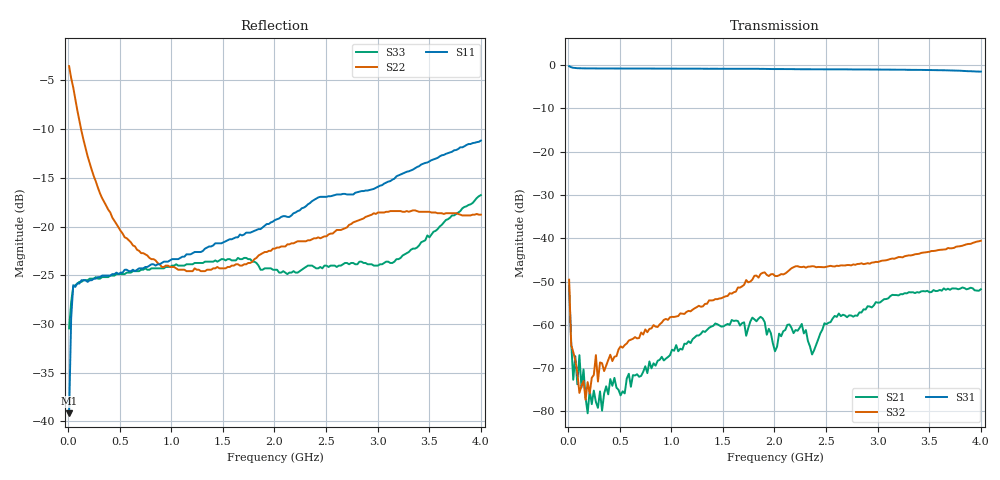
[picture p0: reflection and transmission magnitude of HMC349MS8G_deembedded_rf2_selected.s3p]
!Hittite Microwave Corporation
!12 Elizabeth Drive
!Chelmsford, MA 01824
!Tel: 978-250-3343
!Fax: 978-250-3373
!Device: HMC349MS8G, DC-4 GHz, High Isolation SPDT Non-Reflective Switch in 8-lead plastic SMT package with exposed ground paddle
!Misc: Vdd=5V, Port1=RFC, Port2=RF1, Port3=RF2, RF2 selected, Room
# MHZ S MA R 50
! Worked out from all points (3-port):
!   201 points, 10 MHz to 4 GHz, reference 50 ohm
!   strongest paths, dB at 10 MHz, 1.008 GHz, 2.005 GHz, 3.002 GHz, 4 GHz:
!     S31: -0.2, -0.8, -0.9, -1.0, -1.5
!     S32: -49.6, -58.1, -48.7, -45.5, -40.6
!     S21: -51.0, -65.7, -66.1, -54.9, -51.8
!   lowest |S11| = -39.2 dB at 10 MHz (marker M1), VSWR 1.02, Z = 49.6 + j1 ohm
!   |S11| at or under -10 dB: start of sweep to end of sweep
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10  0.011 113.5  0.0009642 -88.5  0.959 -1.2
    0.002814 6.2  0.665 -15.7  0.001586 164.5
    0.972 -0.6  0.003325 80.2  0.03 84.3
49.9  0.05 35.9  0.00048 -18.3  0.93 -2.7
      0.0002325 -63.4  0.517 -33.0  0.001102 -53.4
      0.931 -2.6  0.0004869 -78.3  0.049 31.2
89.8  0.051 17.4  0.0004175 -54.2  0.919 -3.2
      0.0002058 -62.6  0.394 -45.3  0.0001482 -46.8
      0.921 -3.1  0.0002799 -17.0  0.051 18.1
109.75  0.051 13.8  0.000536 -7.6  0.918 -3.5
        0.0004469 -16.1  0.349 -49.3  0.0005323 -35.6
        0.919 -3.4  0.0001637 -76.2  0.052 14.6
149.65  0.053 7.6  6.803e-05 1.8  0.916 -4.3
        0.0003056 -37.7  0.278 -54.2  4.332e-05 41.8
        0.917 -4.2  0.0002251 28.1  0.053 9.2
169.6  0.053 4.8  0.0002891 -1.0  0.915 -4.6
       0.0001445 -5.5  0.252 -55.5  0.0001566 -1.7
       0.917 -4.6  0.0001365 27.9  0.053 7.5
269.35  0.054 -7.1  0.0002056 -1.8  0.914 -6.8
        0.0001288 95.7  0.17 -57.2  0.0003346 72.2
        0.915 -6.7  0.0004474 72.9  0.055 0.0
1426.45  0.082 -81.2  0.001007 90.7  0.907 -33.7
         0.001038 90.2  0.061 9.7  0.002012 131.7
         0.907 -33.6  0.001984 131.2  0.067 -51.8
2005  0.108 -98.2  0.0005469 74.9  0.899 -47.5
      0.0004958 63.2  0.077 36.8  0.003701 130.6
      0.9 -47.5  0.003675 130.9  0.06 -88.3
4000  0.276 -103.6  0.002627 114.7  0.839 -98.0
      0.002578 116.1  0.115 22.5  0.009363 93.1
      0.841 -98.0  0.009363 93.1  0.145 124.4
